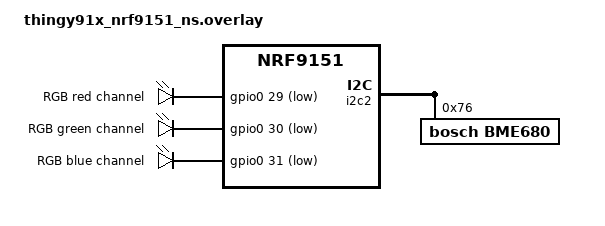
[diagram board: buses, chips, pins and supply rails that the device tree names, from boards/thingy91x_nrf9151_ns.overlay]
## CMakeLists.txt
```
#
# Copyright (c) 2023 Nordic Semiconductor
#
# SPDX-License-Identifier: LicenseRef-Nordic-5-Clause
#

cmake_minimum_required(VERSION 3.20.0)

find_package(Zephyr REQUIRED HINTS $ENV{ZEPHYR_BASE})
project(bme68x_iaq_1)

FILE(GLOB app_sources src/*.c)
# NORDIC SDK APP START
target_sources(app PRIVATE ${app_sources})
# NORDIC SDK APP END
```

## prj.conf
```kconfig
CONFIG_SENSOR=y
CONFIG_BME680=y

CONFIG_GPIO=y
CONFIG_LOG=y
CONFIG_CONSOLE=y
```

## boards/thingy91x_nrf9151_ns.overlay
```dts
/ {
    leds {
        compatible = "gpio-leds";

        red_led: led_1 {
            gpios = <&gpio0 29 GPIO_ACTIVE_LOW>;
            label = "RGB red channel";
        };

        green_led: led_2 {
            gpios = <&gpio0 30 GPIO_ACTIVE_LOW>;
            label = "RGB green channel";
        };

        blue_led: led_3 {
            gpios = <&gpio0 31 GPIO_ACTIVE_LOW>;
            label = "RGB blue channel";
        };
    };

    aliases {
        led0 = &red_led;
        led1 = &green_led;
        led2 = &blue_led;
    };
};
&i2c2 {
    status = "okay";

    bme680@76 {
        compatible = "bosch,bme680";
        reg = <0x76>;
        status = "okay";
    };
};

&gpio0 {
    status = "okay";
};
```

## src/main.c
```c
#include <zephyr/kernel.h>
#include <zephyr/device.h>
#include <zephyr/drivers/gpio.h>
#include <zephyr/drivers/sensor.h>
#include <zephyr/logging/log.h>

LOG_MODULE_REGISTER(app);

static const struct gpio_dt_spec red_led   = GPIO_DT_SPEC_GET(DT_ALIAS(led0), gpios);
static const struct gpio_dt_spec green_led = GPIO_DT_SPEC_GET(DT_ALIAS(led1), gpios);
static const struct gpio_dt_spec blue_led  = GPIO_DT_SPEC_GET(DT_ALIAS(led2), gpios);

void set_color(int temp) {
    // Turn all LEDs off first
    gpio_pin_set_dt(&red_led, 1);
    gpio_pin_set_dt(&green_led, 1);
    gpio_pin_set_dt(&blue_led, 1);

    // Choose color based on temperature
    if (temp >= 30) {
        gpio_pin_set_dt(&blue_led, 0);   // Hot = Blue
    } else if (temp >= 20) {
        gpio_pin_set_dt(&green_led, 0);  // Normal = Green
    } else {
        gpio_pin_set_dt(&red_led, 0);    // Cold = Red
    }
}

int main(void) {
    const struct device *const dev = DEVICE_DT_GET_ANY(bosch_bme680);

    if (!device_is_ready(dev)) {
        LOG_ERR("BME680 sensor not ready");
        return 0;
    }

    if (!device_is_ready(red_led.port) ||
        !device_is_ready(green_led.port) ||
        !device_is_ready(blue_led.port)) {
        LOG_ERR("LEDs not ready");
        return 0;
    }

    gpio_pin_configure_dt(&red_led, GPIO_OUTPUT_INACTIVE);
    gpio_pin_configure_dt(&green_led, GPIO_OUTPUT_INACTIVE);
    gpio_pin_configure_dt(&blue_led, GPIO_OUTPUT_INACTIVE);

    while (1) {
        struct sensor_value temp;

        if (sensor_sample_fetch(dev) == 0 &&
            sensor_channel_get(dev, SENSOR_CHAN_AMBIENT_TEMP, &temp) == 0) {

            LOG_INF("Temperature: %d.%06d °C", temp.val1, temp.val2);
            set_color(temp.val1);
        } else {
            LOG_ERR("Sensor read error");
        }

        k_sleep(K_SECONDS(2));
    }

    return 0;
}
```
